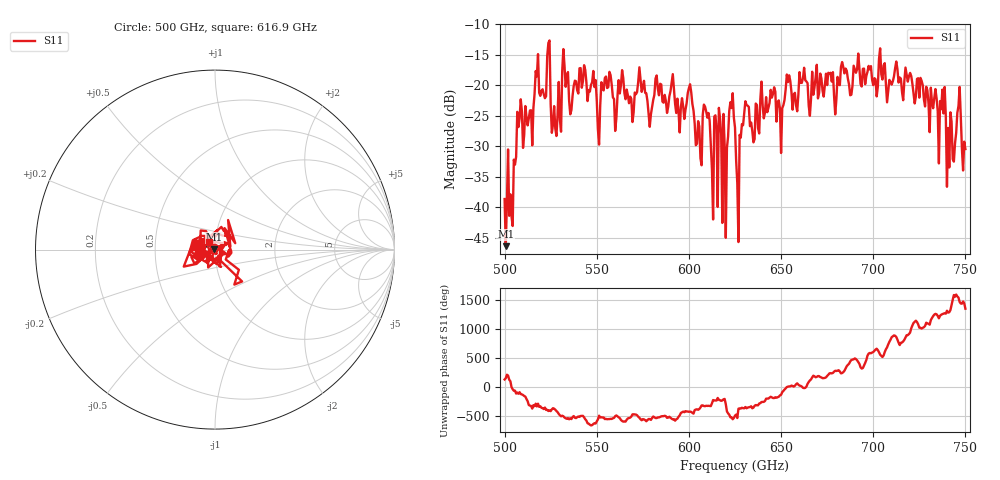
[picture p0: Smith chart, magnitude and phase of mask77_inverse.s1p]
!Created with skrf (http://scikit-rf.org).
# GHz S MA R 50.0
!freq magS11 angS11
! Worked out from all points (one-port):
!   401 points, 500 GHz to 750 GHz, reference 50 ohm
!   lowest |S11| = -46.4 dB at 500.6 GHz (marker M1), VSWR 1.01, Z = 49.6 + j0.268 ohm
!   |S11| at or under -10 dB: start of sweep to end of sweep
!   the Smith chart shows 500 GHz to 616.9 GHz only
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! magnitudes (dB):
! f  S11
! 500 GHz  -38.6
! 500.6 GHz  -46.4
! 503.8 GHz  -41.5
! 508.1 GHz  -25.4
! 513.8 GHz  -24.1
! 517.5 GHz  -18.5
! 523.8 GHz  -13.0
! 526.9 GHz  -23.4
! 531.2 GHz  -17.7
! 562.5 GHz  -21.3
! 593.8 GHz  -22.2
! 600.6 GHz  -19.8
! 605.6 GHz  -26.7
! 609.4 GHz  -24.3
! 611.9 GHz  -29.6
! 619.4 GHz  -29.8
! 622.5 GHz  -22.8
! 625 GHz  -26.9
! 626.9 GHz  -45.7
! 631.2 GHz  -23.2
! 634.4 GHz  -27.5
! 656.2 GHz  -24.0
! 687.5 GHz  -21.6
! 718.8 GHz  -19.4
! 737.5 GHz  -20.7
! 741.2 GHz  -33.5
! 746.2 GHz  -23.4
! 750 GHz  -30.4
